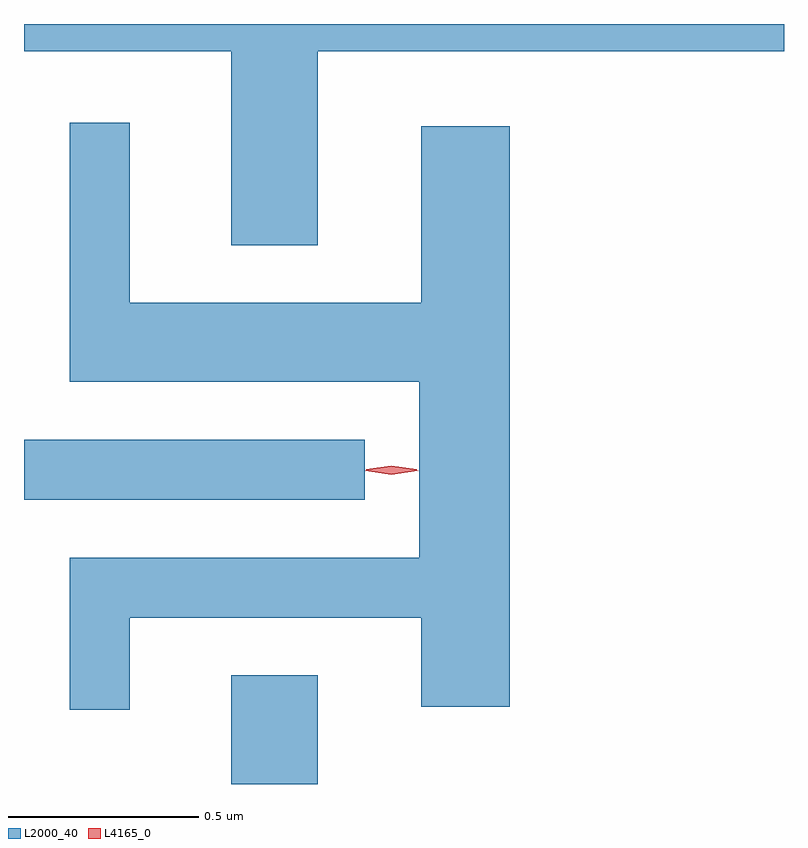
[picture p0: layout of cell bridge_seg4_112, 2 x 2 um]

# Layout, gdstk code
import gdstk
lib = gdstk.Library(unit=1e-6, precision=1e-09)
def R(c, l, rs):  # rectangles x0, y0, x1, y1
    for r in rs: c.add(gdstk.rectangle(r[:2], r[2:], *l))
def P(c, l, *ps):  # polygons
    for p in ps: c.add(gdstk.Polygon(p, *l))
L2000_40 = (2000, 40)
L4165_0 = (4165, 0)

bridge_seg4_112 = lib.new_cell('bridge_seg4_112')
R(bridge_seg4_112, L2000_40, [(919.611,1366.068,919.839,1366.354), (919.066,1366.816,919.963,1366.974)])
P(bridge_seg4_112, L2000_40, [(919.839,1367.996),(921.066,1367.996),(921.066,1368.068),(919.066,1368.068),(919.066,1367.996),(919.611,1367.996),(919.611,1367.486),(919.839,1367.486)],
  [(919.344,1366.506),(920.111,1366.506),(920.111,1366.271),(920.344,1366.271),(920.344,1367.799),(920.111,1367.799),(920.111,1367.334),(919.344,1367.334),(919.344,1367.808),(919.186,1367.808),(919.186,1367.126),(920.106,1367.126),(920.106,1366.664),(919.186,1366.664),(919.186,1366.263),(919.344,1366.263)])
P(bridge_seg4_112, L4165_0, [(920.033,1366.882),(919.964,1366.892),(919.964,1366.892),(919.964,1366.893),(920.033,1366.902),(920.102,1366.893),(920.103,1366.892),(920.102,1366.892)],
  [(920.033,1366.885),(919.967,1366.894),(919.967,1366.895),(919.967,1366.896),(920.033,1366.905),(920.099,1366.896),(920.099,1366.895),(920.099,1366.894)])

lib.write_gds('bridge_seg4_112.gds')
